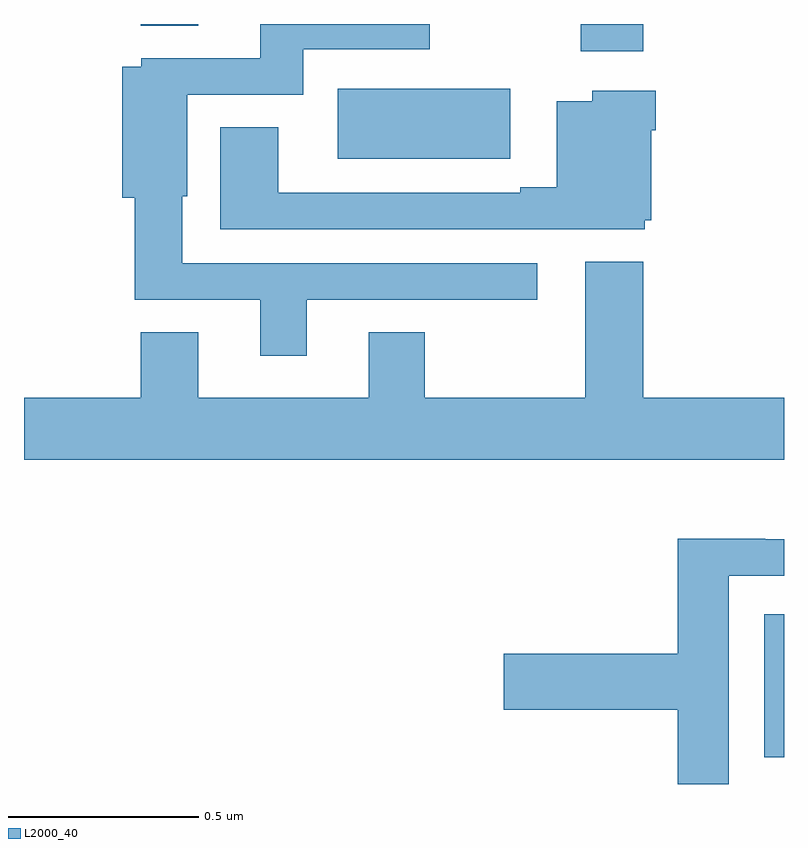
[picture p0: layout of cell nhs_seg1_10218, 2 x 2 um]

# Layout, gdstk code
import gdstk
lib = gdstk.Library(unit=1e-6, precision=1e-09)
def R(c, l, rs):  # rectangles x0, y0, x1, y1
    for r in rs: c.add(gdstk.rectangle(r[:2], r[2:], *l))
def P(c, l, *ps):  # polygons
    for p in ps: c.add(gdstk.Polygon(p, *l))
L2000_40 = (2000, 40)

nhs_seg1_10218 = lib.new_cell('nhs_seg1_10218')
R(nhs_seg1_10218, L2000_40, [(239.948,564.27,240,564.646), (239.465,566.127,239.63,566.199), (238.307,566.194,238.459,566.199)])
P(nhs_seg1_10218, L2000_40, [(238.744,565.473),(239.35,565.473),(239.35,565.569),(238.417,565.569),(238.417,565.746),(238.429,565.746),(238.429,566.013),(238.735,566.013),(238.735,566.133),(239.068,566.133),(239.068,566.199),(238.622,566.199),(238.622,566.109),(238.308,566.109),(238.308,566.086),(238.259,566.086),(238.259,565.742),(238.292,565.742),(238.292,565.473),(238.622,565.473),(238.622,565.326),(238.744,565.326)],
  [(239.177,565.845),(239.28,565.845),(239.28,566.029),(238.826,566.029),(238.826,565.844),(239.177,565.844)],
  [(239.634,565.683),(239.65,565.683),(239.65,565.919),(239.663,565.919),(239.663,566.023),(239.496,566.023),(239.496,565.996),(239.402,565.996),(239.402,565.769),(239.306,565.769),(239.306,565.755),(238.669,565.755),(238.669,565.927),(238.517,565.927),(238.517,565.659),(239.634,565.659)],
  [(240,565.216),(239.63,565.216),(239.63,565.573),(239.477,565.573),(239.477,565.216),(239.055,565.216),(239.055,565.388),(238.907,565.388),(238.907,565.216),(238.459,565.216),(238.459,565.388),(238.307,565.388),(238.307,565.216),(238,565.216),(238,565.052),(240,565.052)],
  [(239.854,564.747),(240,564.747),(240,564.843),(239.95,564.843),(239.95,564.845),(239.72,564.845),(239.72,564.542),(239.262,564.542),(239.262,564.395),(239.72,564.395),(239.72,564.199),(239.854,564.199)])

lib.write_gds('nhs_seg1_10218.gds')
